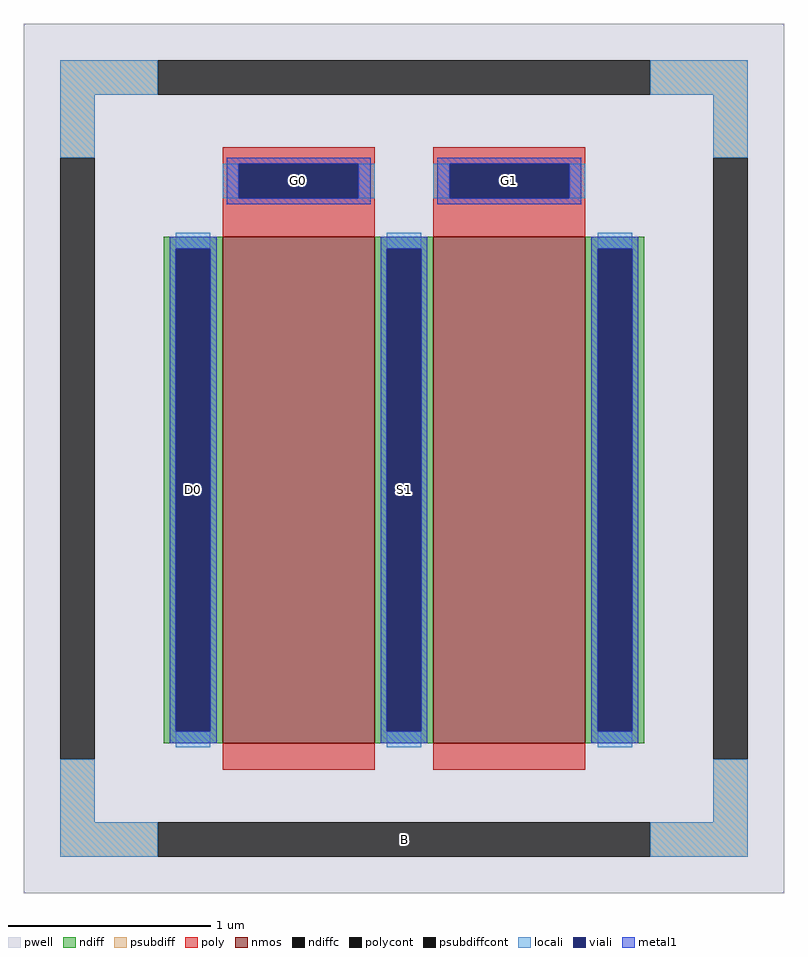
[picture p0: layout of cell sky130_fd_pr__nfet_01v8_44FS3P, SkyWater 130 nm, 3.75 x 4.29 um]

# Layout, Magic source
magic
tech sky130A
magscale 1 2
<< pwell >>
rect -375 -429 375 429
<< nmos >>
rect -179 -281 -29 219
rect 29 -281 179 219
<< ndiff >>
rect -237 207 -179 219
rect -237 -269 -225 207
rect -191 -269 -179 207
rect -237 -281 -179 -269
rect -29 207 29 219
rect -29 -269 -17 207
rect 17 -269 29 207
rect -29 -281 29 -269
rect 179 207 237 219
rect 179 -269 191 207
rect 225 -269 237 207
rect 179 -281 237 -269
<< ndiffc >>
rect -225 -269 -191 207
rect -17 -269 17 207
rect 191 -269 225 207
<< psubdiff >>
rect -339 359 -243 393
rect 243 359 339 393
rect -339 297 -305 359
rect 305 297 339 359
rect -339 -359 -305 -297
rect 305 -359 339 -297
rect -339 -393 -243 -359
rect 243 -393 339 -359
<< psubdiffcont >>
rect -243 359 243 393
rect -339 -297 -305 297
rect 305 -297 339 297
rect -243 -393 243 -359
<< poly >>
rect -179 291 -29 307
rect -179 257 -163 291
rect -45 257 -29 291
rect -179 219 -29 257
rect 29 291 179 307
rect 29 257 45 291
rect 163 257 179 291
rect 29 219 179 257
rect -179 -307 -29 -281
rect 29 -307 179 -281
<< polycont >>
rect -163 257 -45 291
rect 45 257 163 291
<< locali >>
rect -339 359 -243 393
rect 243 359 339 393
rect -339 297 -305 359
rect 305 297 339 359
rect -179 257 -163 291
rect -45 257 -29 291
rect 29 257 45 291
rect 163 257 179 291
rect -225 207 -191 223
rect -225 -285 -191 -269
rect -17 207 17 223
rect -17 -285 17 -269
rect 191 207 225 223
rect 191 -285 225 -269
rect -339 -359 -305 -297
rect 305 -359 339 -297
rect -339 -393 -243 -359
rect 243 -393 339 -359
<< viali >>
rect -163 257 -45 291
rect 45 257 163 291
rect -225 -269 -191 207
rect -17 -269 17 207
rect 191 -269 225 207
<< metal1 >>
rect -175 291 -33 297
rect -175 257 -163 291
rect -45 257 -33 291
rect -175 251 -33 257
rect 33 291 175 297
rect 33 257 45 291
rect 163 257 175 291
rect 33 251 175 257
rect -231 207 -185 219
rect -231 -269 -225 207
rect -191 -269 -185 207
rect -231 -281 -185 -269
rect -23 207 23 219
rect -23 -269 -17 207
rect 17 -269 23 207
rect -23 -281 23 -269
rect 185 207 231 219
rect 185 -269 191 207
rect 225 -269 231 207
rect 185 -281 231 -269
<< labels >>
rlabel psubdiffcont 0 -376 0 -376 0 B
port 1 nsew
rlabel ndiffc -208 -31 -208 -31 0 D0
port 2 nsew
rlabel polycont -104 274 -104 274 0 G0
port 3 nsew
rlabel ndiffc 0 -31 0 -31 0 S1
port 4 nsew
rlabel polycont 104 274 104 274 0 G1
port 5 nsew
<< properties >>
string FIXED_BBOX -322 -376 322 376
string gencell sky130_fd_pr__nfet_01v8
string library sky130
string parameters w 2.5 l 0.75 m 1 nf 2 diffcov 100 polycov 100 guard 1 glc 1 grc 1 gtc 1 gbc 1 tbcov 100 rlcov 100 topc 1 botc 0 poverlap 0 doverlap 1 lmin 0.15 wmin 0.42 class mosfet compatible {sky130_fd_pr__nfet_01v8 sky130_fd_pr__nfet_01v8_lvt  sky130_fd_bs_flash__special_sonosfet_star  sky130_fd_pr__nfet_g5v0d10v5 sky130_fd_pr__nfet_05v0_nvt  sky130_fd_pr__nfet_03v3_nvt} full_metal 1 conn_gates 0 viasrc 100 viadrn 100 viagate 100 viagb 0 viagr 0 viagl 0 viagt 0 doports 1
<< end >>
